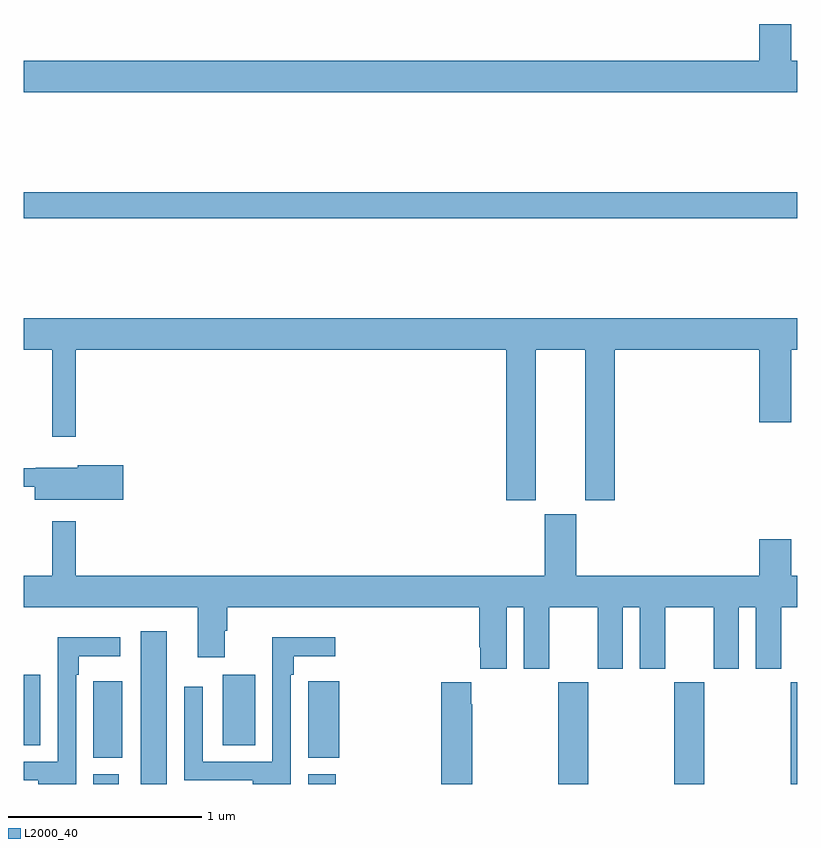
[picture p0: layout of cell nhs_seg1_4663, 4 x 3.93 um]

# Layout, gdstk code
import gdstk
lib = gdstk.Library(unit=1e-6, precision=1e-09)
def R(c, l, rs):  # rectangles x0, y0, x1, y1
    for r in rs: c.add(gdstk.rectangle(r[:2], r[2:], *l))
def P(c, l, *ps):  # polygons
    for p in ps: c.add(gdstk.Polygon(p, *l))
L2000_40 = (2000, 40)

nhs_seg1_4663 = lib.new_cell('nhs_seg1_4663')
R(nhs_seg1_4663, L2000_40, [(365.36,504.199,365.491,504.249), (365.606,504.199,365.74,504.988), (366.47,504.199,366.614,504.249), (367.765,504.199,367.92,504.724), (368.365,504.199,368.52,504.724), (368.965,504.199,369,504.724), (365.36,504.334,365.509,504.73), (365,504.4,365.086,504.763), (366.029,504.4,366.196,504.763), (365,507.124,369,507.26)])
P(nhs_seg1_4663, L2000_40, [(368.804,508.129),(368.804,507.94),(365,507.94),(365,507.776),(369,507.776),(369,507.94),(368.968,507.94),(368.968,508.129)],
  [(367.648,506.444),(367.904,506.444),(367.904,505.665),(368.057,505.665),(368.057,506.444),(368.804,506.444),(368.804,506.07),(368.968,506.07),(368.968,506.444),(369,506.444),(369,506.608),(365,506.608),(365,506.444),(365.147,506.444),(365.147,505.995),(365.269,505.995),(365.269,506.444),(367.496,506.444),(367.496,505.665),(367.648,505.665)],
  [(365.515,505.847),(365.28,505.847),(365.28,505.834),(365.061,505.834),(365.061,505.833),(365,505.833),(365,505.737),(365.057,505.737),(365.057,505.669),(365.515,505.669)],
  [(367.498,505.112),(367.586,505.112),(367.586,504.795),(367.717,504.795),(367.717,505.112),(367.967,505.112),(367.967,504.795),(368.098,504.795),(368.098,505.112),(368.186,505.112),(368.186,504.795),(368.317,504.795),(368.317,505.112),(368.567,505.112),(368.567,504.795),(368.698,504.795),(368.698,505.112),(368.786,505.112),(368.786,504.795),(368.917,504.795),(368.917,505.112),(369,505.112),(369,505.276),(368.968,505.276),(368.968,505.465),(368.804,505.465),(368.804,505.276),(367.858,505.276),(367.858,505.593),(367.694,505.593),(367.694,505.276),(365.269,505.276),(365.269,505.558),(365.147,505.558),(365.147,505.276),(365,505.276),(365,505.112),(365.9,505.112),(365.9,504.855),(366.04,504.855),(366.04,504.992),(366.053,504.992),(366.053,505.112),(367.355,505.112),(367.355,504.907),(367.361,504.907),(367.361,504.795),(367.498,504.795)],
  [(366.381,504.764),(366.397,504.764),(366.397,504.86),(366.61,504.86),(366.61,504.958),(366.285,504.958),(366.285,504.315),(365.925,504.315),(365.925,504.703),(365.829,504.703),(365.829,504.219),(366.185,504.219),(366.185,504.199),(366.381,504.199)],
  [(365.271,504.764),(365.284,504.764),(365.284,504.86),(365.5,504.86),(365.5,504.958),(365.175,504.958),(365.175,504.315),(365,504.315),(365,504.219),(365.075,504.219),(365.075,504.199),(365.271,504.199)],
  [(366.632,504.73),(366.471,504.73),(366.471,504.617),(366.47,504.617),(366.47,504.334),(366.632,504.334)],
  [(367.32,504.611),(367.315,504.611),(367.315,504.724),(367.16,504.724),(367.16,504.199),(367.32,504.199)])

lib.write_gds('nhs_seg1_4663.gds')
